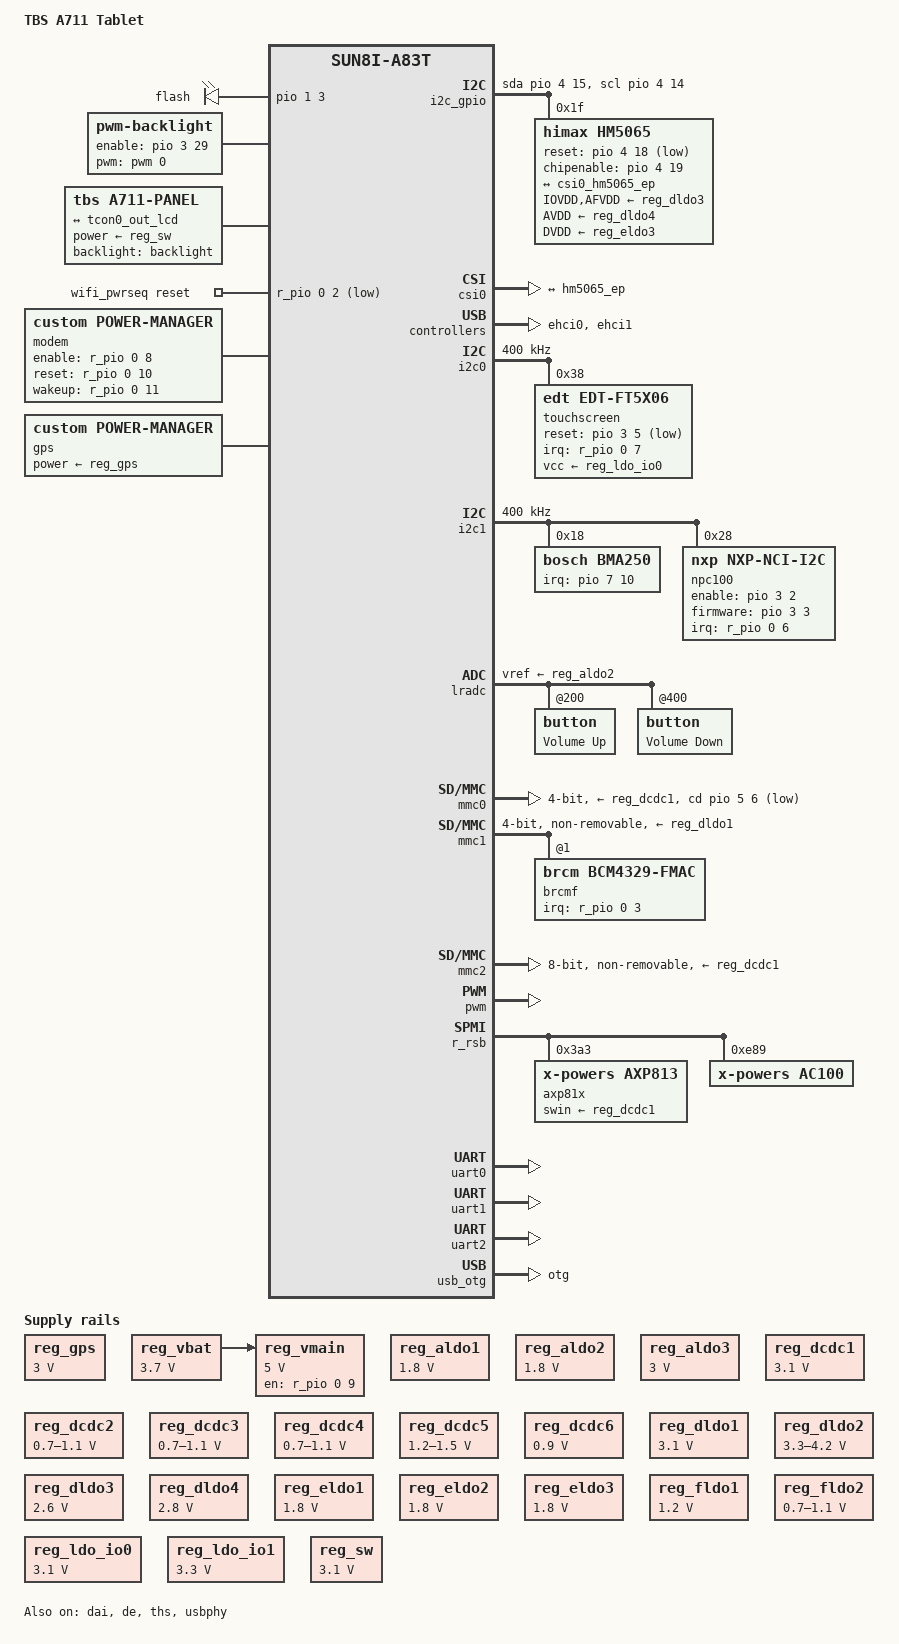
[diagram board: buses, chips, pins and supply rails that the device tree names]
/*
 * Copyright (C) 2017 Touchless Biometric Systems AG
 * Tomas Novotny <tomas@novotny.cz>
 *
 * This file is dual-licensed: you can use it either under the terms
 * of the GPL or the X11 license, at your option. Note that this dual
 * licensing only applies to this file, and not this project as a
 * whole.
 *
 *  a) This file is free software; you can redistribute it and/or
 *     modify it under the terms of the GNU General Public License as
 *     published by the Free Software Foundation; either version 2 of the
 *     License, or (at your option) any later version.
 *
 *     This file is distributed in the hope that it will be useful,
 *     but WITHOUT ANY WARRANTY; without even the implied warranty of
 *     MERCHANTABILITY or FITNESS FOR A PARTICULAR PURPOSE.  See the
 *     GNU General Public License for more details.
 *
 * Or, alternatively,
 *
 *  b) Permission is hereby granted, free of charge, to any person
 *     obtaining a copy of this software and associated documentation
 *     files (the "Software"), to deal in the Software without
 *     restriction, including without limitation the rights to use,
 *     copy, modify, merge, publish, distribute, sublicense, and/or
 *     sell copies of the Software, and to permit persons to whom the
 *     Software is furnished to do so, subject to the following
 *     conditions:
 *
 *     The above copyright notice and this permission notice shall be
 *     included in all copies or substantial portions of the Software.
 *
 *     THE SOFTWARE IS PROVIDED "AS IS", WITHOUT WARRANTY OF ANY KIND,
 *     EXPRESS OR IMPLIED, INCLUDING BUT NOT LIMITED TO THE WARRANTIES
 *     OF MERCHANTABILITY, FITNESS FOR A PARTICULAR PURPOSE AND
 *     NONINFRINGEMENT. IN NO EVENT SHALL THE AUTHORS OR COPYRIGHT
 *     HOLDERS BE LIABLE FOR ANY CLAIM, DAMAGES OR OTHER LIABILITY,
 *     WHETHER IN AN ACTION OF CONTRACT, TORT OR OTHERWISE, ARISING
 *     FROM, OUT OF OR IN CONNECTION WITH THE SOFTWARE OR THE USE OR
 *     OTHER DEALINGS IN THE SOFTWARE.
 */

#define A83T_C1_DISABLE

/dts-v1/;
#include "sun8i-a83t.dtsi"

#include <dt-bindings/gpio/gpio.h>
#include <dt-bindings/pwm/pwm.h>
#include <dt-bindings/input/input.h>

/ {
	model = "TBS A711 Tablet";
	compatible = "tbs-biometrics,a711", "allwinner,sun8i-a83t";

	aliases {
		serial0 = &uart0;
		serial1 = &uart1;
	};

	chosen {
		stdout-path = "serial0:115200n8";
	};

	leds {
		compatible = "gpio-leds";

		flash_led {
			label = "flash";
			gpios = <&pio 1 3 GPIO_ACTIVE_HIGH>;
		};
	};

	backlight: backlight {
		compatible = "pwm-backlight";
		pwms = <&pwm 0 50000 PWM_POLARITY_INVERTED>;
		enable-gpios = <&pio 3 29 GPIO_ACTIVE_HIGH>;

		brightness-levels = <0 8 9 10 11 13 15 17 19 21 23 25 28
				     31 34 37 40 44 48 52 56 61 67 72 78
				     84 91 98 106 115 124 133 143 154
				     166 179 192 207 223 239 255>;
		default-brightness-level = <39>;
	};

	i2c_gpio: i2c-gpio {
		compatible = "i2c-gpio";
		/* PE15 = sda, PE14 = scl */
		sda-gpios = <&pio 4 15 (GPIO_ACTIVE_HIGH | GPIO_OPEN_DRAIN)>;
		scl-gpios = <&pio 4 14 (GPIO_ACTIVE_HIGH | GPIO_OPEN_DRAIN)>;
		i2c-gpio,delay-us = <1>; /* ~100 kHz */
		#address-cells = <1>;
		#size-cells = <0>;
	};

	panel {
		compatible = "tbs,a711-panel", "panel-lvds";
		backlight = <&backlight>;
		power-supply = <&reg_sw>;

		width-mm = <153>;
		height-mm = <90>;
		data-mapping = "vesa-24";

		panel-timing {
			/* 1024x600 @60Hz */
			clock-frequency = <52000000>;
			hactive = <1024>;
			vactive = <600>;
			hsync-len = <20>;
			hfront-porch = <180>;
			hback-porch = <160>;
			vfront-porch = <12>;
			vback-porch = <23>;
			vsync-len = <5>;
		};

		port {
			panel_input: endpoint {
				remote-endpoint = <&tcon0_out_lcd>;
			};
		};
	};

	reg_gps: reg-gps {
		compatible = "regulator-fixed";
		regulator-name = "gps";
		regulator-min-microvolt = <3000000>;
		regulator-max-microvolt = <3000000>;
		enable-active-high;
		/*XXX: this doesn't control GPS regulator, shematics show FLAG
		 * pin */
		//gpio = <&pio 3 4 GPIO_ACTIVE_HIGH>; /* PD4 */
	};

	reg_vbat: reg-vbat {
		compatible = "regulator-fixed";
		regulator-name = "vbat";
		regulator-min-microvolt = <3700000>;
		regulator-max-microvolt = <3700000>;
	};

	reg_vmain: reg-vmain {
		compatible = "regulator-fixed";
		regulator-name = "vmain";
		regulator-min-microvolt = <5000000>;
		regulator-max-microvolt = <5000000>;
		gpio = <&r_pio 0 9 GPIO_ACTIVE_HIGH>; /* PL9 */
		enable-active-high;
		//megi: See modem for comments
		regulator-always-on;
		vin-supply = <&reg_vbat>;
	};

	wifi_pwrseq: wifi_pwrseq {
		compatible = "mmc-pwrseq-simple";
		reset-gpios = <&r_pio 0 2 GPIO_ACTIVE_LOW>; /* PL2 WL-PMU-EN */

		/*
		 * This is actually Bluetooth's clock, but we have to
		 * hook it up somewheere
		 */
		clocks = <&ac100_rtc 1>;
		clock-names = "ext_clock";
	};

	modem {
		compatible = "custom,power-manager";
		//megi: switching Q5 MOSFET probably leads to brownouts on
		//VBAT due to larger capacities on VMAIN. Only use PL8 to
		//enable/disable the modem
		//power-supply = <&reg_vmain>;
		enable-gpios = <&r_pio 0 8 GPIO_ACTIVE_HIGH>; /* PL8 */
		reset-gpios = <&r_pio 0 10 GPIO_ACTIVE_HIGH>; /* PL10 */
		wakeup-gpios = <&r_pio 0 11 GPIO_ACTIVE_HIGH>; /* PL11 */
		reset-duration-ms = <5>;
		char-device-name = "pwr-modem";
	};

	gps {
		compatible = "custom,power-manager";
		power-supply = <&reg_gps>;
		reset-duration-ms = <5>;
		char-device-name = "pwr-gps";
	};
};

&cpu0 {
	cpu-supply = <&reg_dcdc2>;
};

#ifndef A83T_C1_DISABLE
&cpu100 {
	cpu-supply = <&reg_dcdc3>;
};
#endif

&cpu0_thermal {
	trips {
		cpu0_hot: cpu_hot {
			temperature = <65000>;
			hysteresis = <2000>;
			type = "passive";
		};
		cpu0_very_hot: cpu_very_hot {
			temperature = <90000>;
			hysteresis = <2000>;
			type = "critical";
		};
	};

	cooling-maps {
		cpu_hot_limit {
			trip = <&cpu0_hot>;
			cooling-device = <&cpu0 THERMAL_NO_LIMIT THERMAL_NO_LIMIT>;
		};
	};
};

#ifndef A83T_C1_DISABLE
&cpu1_thermal {
	trips {
		cpu1_hot: cpu_hot {
			temperature = <65000>;
			hysteresis = <2000>;
			type = "passive";
		};
		cpu1_very_hot: cpu_very_hot {
			temperature = <90000>;
			hysteresis = <2000>;
			type = "critical";
		};
	};

	cooling-maps {
		cpu_hot_limit {
			trip = <&cpu1_hot>;
			cooling-device = <&cpu100 THERMAL_NO_LIMIT THERMAL_NO_LIMIT>;
		};
	};
};
#endif

&csi0 {
	status = "okay";
	pinctrl-names = "default";
	pinctrl-0 = <&csi0_pins>;

	port {
		csi0_hm5065_ep: endpoint {
			remote-endpoint = <&hm5065_ep>;
			bus-width = <8>;
			data-active = <1>;
			pclk-sample = <1>;
			hsync-active = <1>;
			vsync-active = <0>;
		};
	};
};

&dai {
	status = "okay";
	pinctrl-names = "default";
	pinctrl-0 = <&i2s0_pins>;
};

&de {
	status = "okay";
};

/*
 * An USB-2 hub is connected here, which also means we don't need to
 * enable the OHCI controller.
 */
&ehci0 {
	status = "okay";
};

/*
 * There's a modem connected here that needs to be initialised before
 * being able to be enumerated.
 */
&ehci1 {
	status = "okay";
};

&i2c0 {
	clock-frequency = <400000>;
	status = "okay";

	touchscreen@38 {
		compatible = "edt,edt-ft5x06";
		reg = <0x38>;
		interrupt-parent = <&r_pio>;
		interrupts = <0 7 IRQ_TYPE_EDGE_FALLING>;
		reset-gpios = <&pio 3 5 GPIO_ACTIVE_LOW>;
		vcc-supply = <&reg_ldo_io0>;
		touchscreen-size-x = <1024>;
		touchscreen-size-y = <600>;
	};
};

&i2c_gpio {
	hm5065: camera@1f {
		compatible = "himax,hm5065";
		reg = <0x1f>;
		clocks = <&ccu CLK_CSI_MCLK>;
		clock-names = "xclk";
		IOVDD-supply = <&reg_dldo3>;
		AVDD-supply = <&reg_dldo4>;
		DVDD-supply = <&reg_eldo3>;
		AFVDD-supply = <&reg_dldo3>;
		reset-gpios = <&pio 4 18 GPIO_ACTIVE_LOW>; /* PE18 */
		chipenable-gpios = <&pio 4 19 GPIO_ACTIVE_HIGH>; /* PE19 */

		port {
			hm5065_ep: endpoint {
				remote-endpoint = <&csi0_hm5065_ep>;
				bus-width = <8>;
				data-active = <1>;
				pclk-sample = <1>;
				hsync-active = <1>;
				vsync-active = <0>;
			};
		};
	};
};

&i2c1 {
	pinctrl-names = "default";
	pinctrl-0 = <&i2c1_pins>;
	clock-frequency = <400000>;
	status = "okay";

	/* Accelerometer */
	bma250@18 {
		compatible = "bosch,bma250";
		reg = <0x18>;
		interrupt-parent = <&pio>;
		interrupts = <7 10 IRQ_TYPE_EDGE_RISING>; /* PH10 / EINT10 */
	};

	/* Magnetic Sensor */
	ak8963: ak8963@0d {
		status = "disabled"; /* broken */ 
		compatible = "asahi-kasei,ak8963";
		reg = <0x0d>;
		interrupt-parent = <&pio>;
		interrupts = <1 2 IRQ_TYPE_EDGE_RISING>; /* PB2 */
		mount-matrix =  /* x0 */ "-0.984807753012208",
				/* y0 */ "0",
				/* z0 */ "-0.173648177666930",
				/* x1 */ "0",
				/* y1 */ "-1",
				/* z1 */ "0",
				/* x2 */ "-0.173648177666930",
				/* y2 */ "0",
				/* z2 */ "0.984807753012208";
	};

	/* Light Sensor */
	ltr501: ltr501@23 {
		status = "disabled"; /* no output */ 
		compatible = "ltr,ltr501";
		reg = <0x23>;
		interrupt-parent = <&pio>;
		interrupts = <6 12 IRQ_TYPE_EDGE_FALLING>; /* PG12 */
	};

	/* NFC (NPC 100) */
	npc100: nfc@28 {
		compatible = "nxp,nxp-nci-i2c";
		reg = <0x28>;
		interrupt-parent = <&r_pio>;
		interrupts = <0 6 IRQ_TYPE_LEVEL_HIGH>; /* PL6 */
		enable-gpios = <&pio 3 2 GPIO_ACTIVE_HIGH>; /* PD2 */
		firmware-gpios = <&pio 3 3 GPIO_ACTIVE_HIGH>; /* PD3 */
	};
};

&lradc {
	vref-supply = <&reg_aldo2>;
	status = "okay";

	button@200 {
		label = "Volume Up";
		linux,code = <KEY_VOLUMEUP>;
		channel = <0>;
		voltage = <210000>;
	};

	button@400 {
		label = "Volume Down";
		linux,code = <KEY_VOLUMEDOWN>;
		channel = <0>;
		voltage = <410000>;
	};
};

&mmc0 {
	vmmc-supply = <&reg_dcdc1>;
	pinctrl-names = "default";
	pinctrl-0 = <&mmc0_pins>;
	bus-width = <4>;
	cd-gpios = <&pio 5 6 GPIO_ACTIVE_LOW>;
	status = "okay";
};

&mmc1 {
	mmc-pwrseq = <&wifi_pwrseq>;
	bus-width = <4>;
	vmmc-supply = <&reg_dldo1>;
	vqmmc-supply = <&reg_dldo1>;
	non-removable;
	wakeup-source;
	status = "okay";

	brcmf: wifi@1 {
		reg = <1>;
		compatible = "brcm,bcm4329-fmac";
		interrupt-parent = <&r_pio>;
		interrupts = <0 3 IRQ_TYPE_LEVEL_LOW>; /* PL3 WL_WAKE_UP */
		interrupt-names = "host-wake";
	};
};

&mmc2 {
	pinctrl-0 = <&mmc2_8bit_emmc_pins>;
	pinctrl-names = "default";
	vmmc-supply = <&reg_dcdc1>;
	vqmmc-supply = <&reg_dcdc1>;
	bus-width = <8>;
	non-removable;
	cap-mmc-hw-reset;
	status = "okay";
};

&pwm {
	pinctrl-names = "default";
	pinctrl-0 = <&pwm_pin>;
	status = "okay";
};

&r_rsb {
	status = "okay";

	axp81x: pmic@3a3 {
		compatible = "x-powers,axp813";
		reg = <0x3a3>;
		interrupt-parent = <&r_intc>;
		interrupts = <0 IRQ_TYPE_LEVEL_LOW>;
		swin-supply = <&reg_dcdc1>;
		x-powers,drive-vbus-en;
	};

	ac100: codec@e89 {
		compatible = "x-powers,ac100";
		reg = <0xe89>;

		ac100_codec: codec {
			compatible = "x-powers,ac100-codec";
			interrupt-parent = <&r_pio>;
			interrupts = <0 12 IRQ_TYPE_LEVEL_LOW>; /* PL12 */
			#clock-cells = <0>;
			clock-output-names = "4M_adda";
		};

		ac100_rtc: rtc {
			compatible = "x-powers,ac100-rtc";
			interrupt-parent = <&r_intc>;
			interrupts = <0 IRQ_TYPE_LEVEL_LOW>;
			clocks = <&ac100_codec>;
			#clock-cells = <1>;
			clock-output-names = "cko1_rtc",
					     "cko2_rtc",
					     "cko3_rtc";
		};
	};

};

#include "axp81x.dtsi"

&battery_power_supply {
	status = "okay";
};

&reg_aldo1 {
	regulator-min-microvolt = <1800000>;
	regulator-max-microvolt = <1800000>;
	regulator-name = "vcc-1.8";
};

&reg_aldo2 {
	regulator-min-microvolt = <1800000>;
	regulator-max-microvolt = <1800000>;
	regulator-always-on;
	regulator-name = "vdd-drampll";
};

&reg_aldo3 {
	regulator-min-microvolt = <3000000>;
	regulator-max-microvolt = <3000000>;
	regulator-always-on;
	regulator-name = "avcc";
};

&reg_dcdc1 {
	regulator-min-microvolt = <3100000>;
	regulator-max-microvolt = <3100000>;
	regulator-always-on;
	regulator-name = "vcc-io";
};

&reg_dcdc2 {
	regulator-min-microvolt = <700000>;
	regulator-max-microvolt = <1100000>;
	regulator-always-on;
	regulator-name = "vdd-cpu-A";
};

&reg_dcdc3 {
	regulator-min-microvolt = <700000>;
	regulator-max-microvolt = <1100000>;
#ifndef A83T_C1_DISABLE
	regulator-always-on;
#endif
	regulator-name = "vdd-cpu-B";
};

&reg_dcdc4 {
	regulator-min-microvolt = <700000>;
	regulator-max-microvolt = <1100000>;
	regulator-name = "vdd-gpu";
};

&reg_dcdc5 {
	regulator-min-microvolt = <1200000>;
	regulator-max-microvolt = <1500000>;
	regulator-always-on;
	regulator-name = "vcc-dram";
};

&reg_dcdc6 {
	regulator-min-microvolt = <900000>;
	regulator-max-microvolt = <900000>;
	regulator-always-on;
	regulator-name = "vdd-sys";
};

&reg_dldo1 {
	regulator-min-microvolt = <3100000>;
	regulator-max-microvolt = <3100000>;
	regulator-name = "vcc-wifi-io";
};

&reg_dldo2 {
	regulator-min-microvolt = <3300000>;
	regulator-max-microvolt = <4200000>;
	regulator-name = "vbat-nfc";
	regulator-always-on;
};

&reg_dldo3 {
	regulator-min-microvolt = <2600000>;
	regulator-max-microvolt = <2600000>;
	regulator-name = "vdd-csi";
};

&reg_dldo4 {
	regulator-min-microvolt = <2800000>;
	regulator-max-microvolt = <2800000>;
	regulator-name = "avdd-csi";
};

&reg_drivevbus {
	regulator-name = "usb0-vbus";
	status = "okay";
};

&reg_eldo1 {
	regulator-min-microvolt = <1800000>;
	regulator-max-microvolt = <1800000>;
	regulator-name = "pvdd-nfc";
	regulator-always-on;
};

&reg_eldo2 {
	regulator-min-microvolt = <1800000>;
	regulator-max-microvolt = <1800000>;
	regulator-name = "vcc-dsi";
};

&reg_eldo3 {
	regulator-min-microvolt = <1800000>;
	regulator-max-microvolt = <1800000>;
	regulator-name = "dvdd-csi-f";
};

&reg_fldo1 {
	regulator-min-microvolt = <1200000>;
	regulator-max-microvolt = <1200000>;
	regulator-name = "vcc-hsic";
};

&reg_fldo2 {
	regulator-min-microvolt = <700000>;
	regulator-max-microvolt = <1100000>;
	regulator-always-on;
	regulator-name = "vdd-cpus";
};

&reg_ldo_io0 {
	regulator-min-microvolt = <3100000>;
	regulator-max-microvolt = <3100000>;
	regulator-name = "vcc-ctp";
	status = "okay";
};

&reg_ldo_io1 {
	regulator-min-microvolt = <3300000>;
	regulator-max-microvolt = <3300000>;
	regulator-name = "vcc-vb";
	status = "okay";
};

&reg_sw {
	regulator-min-microvolt = <3100000>;
	regulator-max-microvolt = <3100000>;
	regulator-name = "vcc-lcd";
};

&tcon0 {
	pinctrl-names = "default";
	pinctrl-0 = <&lcd_lvds_pins>;
};

&tcon0_out {
	tcon0_out_lcd: endpoint@0 {
		reg = <0>;
		remote-endpoint = <&panel_input>;
	};
};

&ths {
	status = "okay";
};

&uart0 {
	pinctrl-names = "default";
	pinctrl-0 = <&uart0_pb_pins>;
	status = "okay";
};

/* There's the BT part of the AP6210 connected to that UART */
&uart1 {
	pinctrl-names = "default";
	pinctrl-0 = <&uart1_pins>, <&uart1_rts_cts_pins>;
	status = "okay";

/*
	bluetooth {
		compatible = "brcm,bcm43438-bt";
		//max-speed = <921600>;
		shutdown-gpios = <&r_pio 0 4 GPIO_ACTIVE_HIGH>;
		device-wakeup-gpios = <&pio 7 5 GPIO_ACTIVE_HIGH>;
		//host-wakeup-gpios = <&r_pio 0 5 GPIO_ACTIVE_HIGH>;
	};
	*/
};

/* GPS NEO-6M */
&uart2 {
	pinctrl-names = "default";
	pinctrl-0 = <&uart2_pb_pins>;
	status = "okay";
};

&usb_otg {
	dr_mode = "otg";
	status = "okay";
};

&usbphy {
	usb0_id_det-gpios = <&pio 7 11 GPIO_ACTIVE_HIGH>; /* PH11 */
	usb0_vbus-supply = <&reg_drivevbus>;
	usb1_vbus_supply = <&reg_vmain>;
	usb2_vbus_supply = <&reg_vmain>;
	force-poll-vbus-id-det;
	status = "okay";
};
